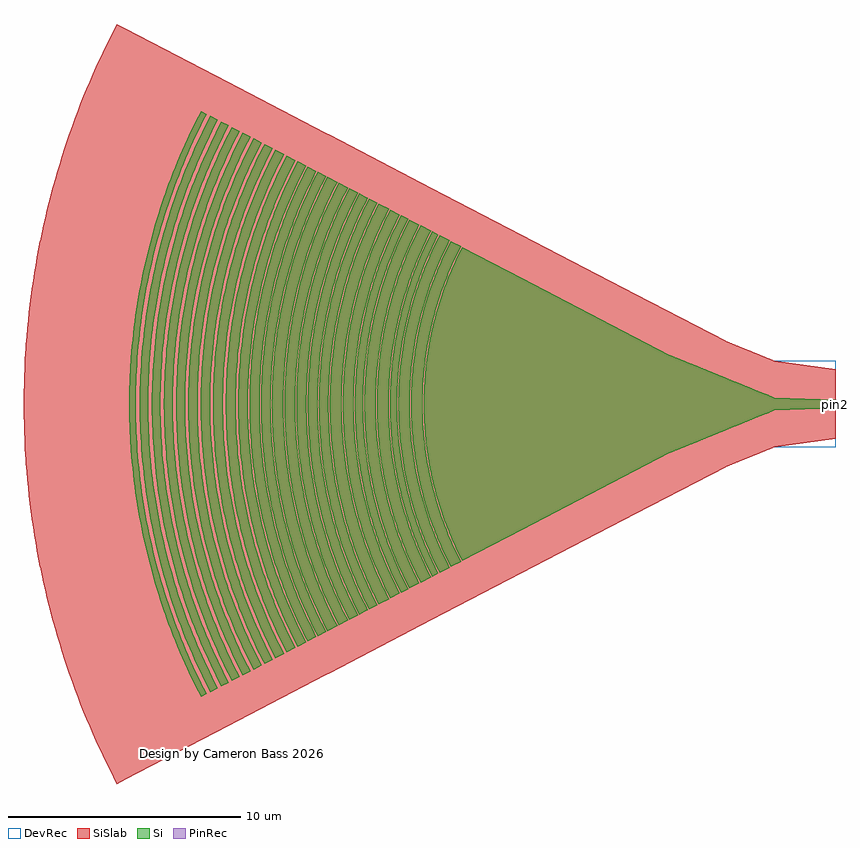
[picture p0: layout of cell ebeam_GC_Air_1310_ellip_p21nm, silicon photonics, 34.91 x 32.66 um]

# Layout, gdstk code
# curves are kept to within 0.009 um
import gdstk
lib = gdstk.Library(unit=1e-6, precision=1e-09)
def P(c, l, *ps):  # polygons
    for p in ps: c.add(gdstk.Polygon(p, *l))
Si = (1, 0)
PinRec = (1, 10)
SiSlab = (2, 0)
DevRec = (68, 0)

ebeam_gc_air_1310_ellip_ = lib.new_cell('ebeam_GC_Air_1310_ellip_p21nm')
P(ebeam_gc_air_1310_ellip_, Si, [(-16.057,-6.744),(-16.429,-5.978),(-16.804,-5.06),(-17.033,-4.39),(-17.298,-3.436),(-17.475,-2.605),(-17.602,-1.766),(-17.68,-0.919),(-17.708,-0.071),(-17.68,0.919),(-17.602,1.766),(-17.475,2.606),(-17.298,3.436),(-17.033,4.39),(-16.804,5.06),(-16.429,5.978),(-16.057,6.744),(-7.084,2.076),(-2.648,0.271),(0,0.175),(0,-0.175),(-2.658,-0.273),(-2.853,-0.363),(-3.177,-0.483),(-7.084,-2.076)],
  [(-16.549,-6.999),(-16.932,-6.208),(-17.27,-5.392),(-17.559,-4.559),(-17.799,-3.711),(-17.991,-2.85),(-18.131,-1.979),(-18.23,-0.955),(-18.26,-0.073),(-18.239,0.808),(-18.149,1.833),(-18.018,2.706),(-17.834,3.568),(-17.725,3.996),(-17.559,4.559),(-17.27,5.392),(-16.932,6.208),(-16.549,7),(-16.109,6.771),(-16.482,6.001),(-16.808,5.213),(-17.088,4.409),(-17.321,3.588),(-17.42,3.174),(-17.531,2.616),(-17.659,1.772),(-17.746,0.782),(-17.766,0.071),(-17.746,-0.782),(-17.659,-1.772),(-17.531,-2.615),(-17.355,-3.45),(-17.13,-4.273),(-16.858,-5.081),(-16.482,-6.001),(-16.109,-6.771)],
  [(-17.03,-7.25),(-17.426,-6.432),(-17.776,-5.587),(-18.075,-4.724),(-18.324,-3.845),(-18.522,-2.953),(-18.667,-2.051),(-18.76,-1.142),(-18.787,-0.685),(-18.801,-0.076),(-18.779,0.837),(-18.704,1.748),(-18.647,2.202),(-18.55,2.803),(-18.36,3.697),(-18.206,4.287),(-18.075,4.724),(-17.776,5.587),(-17.426,6.432),(-17.03,7.25),(-16.6,7.027),(-16.862,6.5),(-17.045,6.096),(-17.375,5.276),(-17.658,4.436),(-17.892,3.582),(-18.074,2.716),(-18.207,1.84),(-18.288,0.959),(-18.318,0.074),(-18.297,-0.811),(-18.207,-1.84),(-18.074,-2.716),(-17.892,-3.582),(-17.658,-4.436),(-17.375,-5.276),(-17.045,-6.096),(-16.862,-6.5),(-16.6,-7.027)],
  [(-17.35,-7.417),(-17.755,-6.58),(-18.113,-5.717),(-18.419,-4.833),(-18.674,-3.934),(-18.877,-3.021),(-19.045,-1.944),(-19.131,-1.012),(-19.162,-0.078),(-19.14,0.857),(-19.045,1.944),(-18.905,2.868),(-18.711,3.783),(-18.465,4.684),(-18.168,5.57),(-17.755,6.581),(-17.35,7.417),(-17.082,7.277),(-17.541,6.315),(-17.775,5.751),(-17.935,5.322),(-18.176,4.596),(-18.303,4.155),(-18.453,3.562),(-18.549,3.114),(-18.682,2.361),(-18.778,1.603),(-18.837,0.841),(-18.859,0.077),(-18.844,-0.688),(-18.793,-1.45),(-18.682,-2.361),(-18.549,-3.114),(-18.453,-3.562),(-18.303,-4.154),(-18.176,-4.596),(-17.986,-5.177),(-17.774,-5.75),(-17.541,-6.315),(-17.082,-7.277)],
  [(-17.846,-7.675),(-18.264,-6.81),(-18.691,-5.765),(-18.999,-4.848),(-19.253,-3.915),(-19.454,-2.968),(-19.598,-2.012),(-19.687,-1.047),(-19.72,-0.08),(-19.696,0.887),(-19.617,1.851),(-19.482,2.81),(-19.361,3.443),(-19.253,3.915),(-18.999,4.848),(-18.691,5.765),(-18.264,6.811),(-17.846,7.675),(-17.402,7.444),(-17.808,6.604),(-18.166,5.737),(-18.475,4.851),(-18.731,3.949),(-18.839,3.492),(-18.962,2.878),(-19.102,1.95),(-19.166,1.328),(-19.198,0.86),(-19.22,0.078),(-19.198,-0.86),(-19.166,-1.328),(-19.102,-1.95),(-18.962,-2.878),(-18.768,-3.796),(-18.475,-4.851),(-18.166,-5.738),(-17.808,-6.604),(-17.402,-7.444)],
  [(-18.326,-7.925),(-18.758,-7.032),(-19.14,-6.109),(-19.311,-5.64),(-19.517,-5.006),(-19.779,-4.042),(-19.986,-3.065),(-20.136,-2.077),(-20.227,-1.082),(-20.261,-0.083),(-20.237,0.916),(-20.155,1.911),(-20.015,2.901),(-19.818,3.881),(-19.655,4.527),(-19.517,5.006),(-19.198,5.953),(-19.018,6.419),(-18.758,7.033),(-18.326,7.925),(-17.899,7.703),(-18.384,6.687),(-18.746,5.786),(-19.056,4.866),(-19.312,3.929),(-19.512,2.978),(-19.657,2.018),(-19.747,1.052),(-19.78,0.081),(-19.756,-0.89),(-19.676,-1.858),(-19.54,-2.82),(-19.312,-3.928),(-19.056,-4.865),(-18.746,-5.786),(-18.384,-6.687),(-17.899,-7.703)],
  [(-18.688,-8.113),(-19.13,-7.199),(-19.522,-6.253),(-19.857,-5.287),(-20.049,-4.634),(-20.176,-4.138),(-20.388,-3.138),(-20.541,-2.126),(-20.635,-1.107),(-20.669,-0.085),(-20.645,0.937),(-20.561,1.957),(-20.418,2.97),(-20.29,3.639),(-20.176,4.138),(-20.049,4.634),(-19.857,5.287),(-19.522,6.253),(-19.13,7.199),(-18.688,8.113),(-18.378,7.953),(-18.812,7.056),(-19.135,6.286),(-19.366,5.659),(-19.524,5.183),(-19.797,4.219),(-19.913,3.731),(-20.044,3.075),(-20.194,2.084),(-20.286,1.086),(-20.32,0.084),(-20.296,-0.919),(-20.231,-1.752),(-20.126,-2.581),(-19.981,-3.404),(-19.876,-3.893),(-19.712,-4.541),(-19.524,-5.183),(-19.366,-5.659),(-18.946,-6.75),(-18.672,-7.36),(-18.378,-7.952)],
  [(-19.146,-8.352),(-19.601,-7.412),(-19.876,-6.765),(-20.066,-6.274),(-20.401,-5.276),(-20.678,-4.26),(-20.896,-3.23),(-21.054,-2.189),(-21.15,-1.14),(-21.186,-0.088),(-21.176,0.615),(-21.15,1.14),(-21.054,2.189),(-20.896,3.23),(-20.678,4.26),(-20.401,5.276),(-20.066,6.274),(-19.876,6.766),(-19.601,7.412),(-19.146,8.352),(-18.741,8.141),(-19.042,7.534),(-19.254,7.067),(-19.636,6.115),(-19.964,5.142),(-20.235,4.152),(-20.446,3.148),(-20.6,2.133),(-20.694,1.112),(-20.729,0.086),(-20.704,-0.941),(-20.62,-1.964),(-20.476,-2.979),(-20.382,-3.484),(-20.235,-4.152),(-19.964,-5.142),(-19.636,-6.115),(-19.254,-7.067),(-19.042,-7.534),(-18.741,-8.141)],
  [(-19.645,-8.612),(-20.112,-7.645),(-20.528,-6.641),(-20.883,-5.615),(-21.179,-4.57),(-21.414,-3.51),(-21.587,-2.438),(-21.697,-1.357),(-21.728,-0.815),(-21.746,-0.09),(-21.72,0.995),(-21.63,2.078),(-21.479,3.154),(-21.343,3.864),(-21.222,4.395),(-20.937,5.442),(-20.713,6.131),(-20.528,6.641),(-20.112,7.645),(-19.645,8.612),(-19.199,8.38),(-19.655,7.435),(-20.059,6.459),(-20.239,5.963),(-20.458,5.294),(-20.694,4.445),(-20.921,3.414),(-21.09,2.371),(-21.168,1.671),(-21.209,1.144),(-21.245,0.088),(-21.24,-0.44),(-21.209,-1.144),(-21.112,-2.195),(-20.954,-3.24),(-20.736,-4.274),(-20.458,-5.293),(-20.239,-5.963),(-20.059,-6.459),(-19.655,-7.435),(-19.199,-8.38)],
  [(-20.06,-8.828),(-20.54,-7.835),(-20.966,-6.806),(-21.331,-5.754),(-21.634,-4.683),(-21.875,-3.597),(-22.052,-2.498),(-22.165,-1.391),(-22.197,-0.835),(-22.215,-0.093),(-22.188,1.02),(-22.097,2.129),(-22.027,2.682),(-21.909,3.415),(-21.678,4.504),(-21.49,5.222),(-21.331,5.754),(-20.966,6.806),(-20.54,7.835),(-20.06,8.828),(-19.701,8.641),(-20.17,7.669),(-20.586,6.663),(-20.944,5.634),(-21.241,4.585),(-21.476,3.521),(-21.57,2.985),(-21.672,2.265),(-21.772,1.18),(-21.809,0.091),(-21.783,-0.999),(-21.693,-2.085),(-21.625,-2.625),(-21.509,-3.342),(-21.284,-4.408),(-20.997,-5.46),(-20.65,-6.493),(-20.244,-7.502),(-19.94,-8.163),(-19.701,-8.641)],
  [(-20.48,-9.047),(-20.973,-8.028),(-21.41,-6.973),(-21.783,-5.896),(-22.094,-4.799),(-22.266,-4.058),(-22.376,-3.499),(-22.546,-2.371),(-22.651,-1.235),(-22.69,-0.095),(-22.662,1.045),(-22.568,2.182),(-22.409,3.312),(-22.305,3.872),(-22.139,4.615),(-21.839,5.715),(-21.666,6.258),(-21.41,6.973),(-21.199,7.504),(-20.895,8.201),(-20.48,9.047),(-20.113,8.856),(-20.595,7.858),(-21.021,6.827),(-21.387,5.773),(-21.597,5.058),(-21.737,4.517),(-21.967,3.425),(-22.134,2.321),(-22.236,1.209),(-22.274,0.093),(-22.247,-1.023),(-22.193,-1.766),(-22.134,-2.32),(-21.967,-3.425),(-21.737,-4.517),(-21.442,-5.595),(-21.086,-6.653),(-20.816,-7.346),(-20.595,-7.859),(-20.113,-8.856)],
  [(-20.915,-9.273),(-21.421,-8.226),(-21.868,-7.147),(-22.251,-6.042),(-22.57,-4.918),(-22.705,-4.349),(-22.859,-3.585),(-23.034,-2.43),(-23.141,-1.265),(-23.18,-0.097),(-23.175,0.488),(-23.141,1.265),(-23.034,2.43),(-22.859,3.586),(-22.616,4.729),(-22.309,5.856),(-21.937,6.964),(-21.726,7.509),(-21.421,8.227),(-20.915,9.273),(-20.537,9.076),(-20.873,8.398),(-21.109,7.878),(-21.331,7.35),(-21.536,6.816),(-21.901,5.732),(-22.203,4.628),(-22.439,3.509),(-22.61,2.378),(-22.715,1.239),(-22.754,0.096),(-22.743,-0.667),(-22.715,-1.239),(-22.61,-2.378),(-22.439,-3.509),(-22.203,-4.628),(-21.901,-5.732),(-21.536,-6.816),(-21.109,-7.877),(-20.873,-8.398),(-20.537,-9.076)],
  [(-21.366,-9.508),(-21.632,-8.979),(-21.884,-8.436),(-22.197,-7.7),(-22.413,-7.141),(-22.795,-6.005),(-23.11,-4.849),(-23.359,-3.677),(-23.538,-2.492),(-23.648,-1.297),(-23.677,-0.699),(-23.688,-0.1),(-23.683,0.499),(-23.648,1.298),(-23.538,2.491),(-23.359,3.677),(-23.11,4.849),(-22.795,6.005),(-22.413,7.141),(-21.965,8.253),(-21.718,8.799),(-21.366,9.508),(-20.967,9.3),(-21.475,8.25),(-21.923,7.167),(-22.308,6.06),(-22.476,5.498),(-22.674,4.742),(-22.916,3.595),(-23.092,2.436),(-23.199,1.27),(-23.239,0.098),(-23.211,-1.074),(-23.154,-1.854),(-23.092,-2.436),(-22.916,-3.595),(-22.674,-4.742),(-22.528,-5.311),(-22.308,-6.06),(-21.923,-7.166),(-21.475,-8.25),(-20.967,-9.3)],
  [(-21.854,-9.761),(-22.3,-8.85),(-22.782,-7.718),(-23.065,-6.948),(-23.259,-6.363),(-23.594,-5.179),(-23.78,-4.379),(-23.898,-3.776),(-24.082,-2.559),(-24.195,-1.332),(-24.225,-0.718),(-24.236,-0.102),(-24.207,1.128),(-24.106,2.355),(-23.999,3.168),(-23.898,3.776),(-23.78,4.379),(-23.643,4.98),(-23.49,5.577),(-23.319,6.167),(-23.132,6.754),(-22.927,7.334),(-22.628,8.098),(-22.384,8.663),(-22.125,9.221),(-21.854,9.762),(-21.418,9.535),(-21.938,8.459),(-22.176,7.908),(-22.397,7.349),(-22.792,6.214),(-23.12,5.058),(-23.259,4.473),(-23.379,3.884),(-23.571,2.697),(-23.693,1.501),(-23.728,0.901),(-23.747,0.1),(-23.718,-1.102),(-23.66,-1.901),(-23.596,-2.499),(-23.416,-3.687),(-23.168,-4.863),(-22.851,-6.023),(-22.468,-7.162),(-22.019,-8.277),(-21.771,-8.824),(-21.418,-9.535)],
  [(-22.268,-9.977),(-22.545,-9.424),(-22.81,-8.854),(-23.292,-7.691),(-23.574,-6.902),(-23.766,-6.303),(-24.097,-5.09),(-24.236,-4.476),(-24.357,-3.859),(-24.46,-3.238),(-24.545,-2.615),(-24.612,-1.989),(-24.661,-1.362),(-24.691,-0.734),(-24.703,-0.105),(-24.673,1.153),(-24.57,2.406),(-24.491,3.031),(-24.394,3.653),(-24.279,4.271),(-24.097,5.09),(-23.766,6.303),(-23.574,6.903),(-23.292,7.691),(-22.81,8.855),(-22.268,9.977),(-21.906,9.789),(-22.266,9.061),(-22.521,8.5),(-22.76,7.93),(-23.052,7.161),(-23.252,6.577),(-23.491,5.79),(-23.651,5.194),(-23.836,4.392),(-23.955,3.786),(-24.056,3.177),(-24.185,2.157),(-24.265,1.131),(-24.295,0.103),(-24.275,-0.925),(-24.205,-1.952),(-24.086,-2.974),(-23.877,-4.19),(-23.748,-4.793),(-23.546,-5.592),(-23.314,-6.381),(-23.052,-7.161),(-22.76,-7.93),(-22.521,-8.499),(-22.266,-9.061),(-21.906,-9.789)],
  [(-22.702,-10.203),(-22.987,-9.636),(-23.258,-9.053),(-23.513,-8.462),(-23.751,-7.864),(-23.97,-7.26),(-24.172,-6.649),(-24.414,-5.827),(-24.574,-5.204),(-24.717,-4.576),(-24.84,-3.946),(-24.946,-3.311),(-25.033,-2.674),(-25.101,-2.034),(-25.151,-1.392),(-25.182,-0.751),(-25.194,-0.107),(-25.188,0.536),(-25.163,1.179),(-25.12,1.821),(-25.058,2.46),(-24.977,3.099),(-24.878,3.735),(-24.717,4.576),(-24.574,5.204),(-24.414,5.827),(-24.235,6.445),(-24.039,7.058),(-23.826,7.664),(-23.594,8.264),(-23.345,8.857),(-22.987,9.636),(-22.702,10.203),(-22.323,10.006),(-22.692,9.261),(-22.953,8.687),(-23.197,8.105),(-23.495,7.319),(-23.764,6.522),(-23.944,5.917),(-24.108,5.308),(-24.297,4.489),(-24.489,3.456),(-24.632,2.414),(-24.723,1.366),(-24.754,0.736),(-24.766,0.105),(-24.746,-0.946),(-24.709,-1.576),(-24.654,-2.204),(-24.522,-3.247),(-24.339,-4.283),(-24.207,-4.899),(-24.001,-5.714),(-23.764,-6.522),(-23.495,-7.319),(-23.274,-7.909),(-22.953,-8.686),(-22.692,-9.261),(-22.323,-10.006)],
  [(-23.134,-10.428),(-23.428,-9.843),(-23.705,-9.248),(-24.209,-8.033),(-24.433,-7.416),(-24.64,-6.792),(-24.828,-6.163),(-24.998,-5.528),(-25.283,-4.246),(-25.397,-3.598),(-25.492,-2.949),(-25.568,-2.296),(-25.64,-1.422),(-25.672,-0.767),(-25.684,-0.109),(-25.678,0.547),(-25.653,1.204),(-25.608,1.86),(-25.545,2.513),(-25.462,3.166),(-25.323,4.031),(-25.196,4.675),(-25.05,5.316),(-24.886,5.952),(-24.704,6.583),(-24.504,7.21),(-24.286,7.829),(-24.048,8.442),(-23.705,9.248),(-23.428,9.843),(-23.134,10.428),(-22.771,10.24),(-23.15,9.473),(-23.503,8.689),(-23.747,8.091),(-23.972,7.487),(-24.247,6.672),(-24.432,6.053),(-24.651,5.221),(-24.793,4.592),(-24.99,3.534),(-25.083,2.896),(-25.158,2.255),(-25.241,1.183),(-25.273,0.108),(-25.252,-0.968),(-25.179,-2.041),(-25.11,-2.683),(-25.023,-3.322),(-24.836,-4.381),(-24.651,-5.221),(-24.49,-5.845),(-24.311,-6.466),(-24.044,-7.284),(-23.747,-8.091),(-23.503,-8.688),(-23.15,-9.473),(-22.771,-10.239)],
  [(-23.603,-10.673),(-23.907,-10.068),(-24.191,-9.46),(-24.457,-8.842),(-24.706,-8.218),(-24.936,-7.586),(-25.147,-6.948),(-25.34,-6.304),(-25.514,-5.655),(-25.67,-5.001),(-25.805,-4.343),(-25.957,-3.459),(-26.048,-2.794),(-26.119,-2.125),(-26.171,-1.455),(-26.204,-0.784),(-26.217,-0.112),(-26.21,0.56),(-26.184,1.232),(-26.139,1.903),(-26.048,2.794),(-25.957,3.46),(-25.846,4.123),(-25.717,4.782),(-25.567,5.438),(-25.4,6.088),(-25.213,6.734),(-25.008,7.375),(-24.785,8.008),(-24.542,8.635),(-24.191,9.46),(-23.907,10.069),(-23.603,10.673),(-23.229,10.478),(-23.62,9.689),(-23.981,8.887),(-24.461,7.658),(-24.675,7.033),(-24.932,6.191),(-25.156,5.34),(-25.301,4.697),(-25.503,3.614),(-25.652,2.525),(-25.715,1.868),(-25.76,1.21),(-25.792,0.11),(-25.771,-0.99),(-25.733,-1.648),(-25.675,-2.306),(-25.537,-3.398),(-25.345,-4.481),(-25.207,-5.126),(-24.991,-5.98),(-24.808,-6.613),(-24.535,-7.45),(-24.309,-8.07),(-23.981,-8.887),(-23.62,-9.689),(-23.229,-10.478)],
  [(-24.086,-10.924),(-24.4,-10.3),(-24.69,-9.677),(-24.963,-9.045),(-25.218,-8.406),(-25.453,-7.761),(-25.737,-6.889),(-25.928,-6.229),(-26.099,-5.563),(-26.252,-4.892),(-26.385,-4.218),(-26.498,-3.539),(-26.591,-2.858),(-26.664,-2.174),(-26.717,-1.488),(-26.751,-0.802),(-26.764,-0.114),(-26.757,0.573),(-26.731,1.26),(-26.684,1.946),(-26.591,2.859),(-26.498,3.539),(-26.385,4.218),(-26.252,4.892),(-26.099,5.563),(-25.928,6.229),(-25.737,6.889),(-25.453,7.761),(-25.218,8.406),(-24.963,9.046),(-24.69,9.677),(-24.4,10.3),(-24.086,10.924),(-23.717,10.732),(-24.023,10.122),(-24.4,9.304),(-24.746,8.471),(-24.982,7.839),(-25.27,6.985),(-25.464,6.337),(-25.694,5.466),(-25.842,4.808),(-25.973,4.144),(-26.084,3.478),(-26.226,2.361),(-26.313,1.238),(-26.346,0.113),(-26.324,-1.013),(-26.284,-1.688),(-26.226,-2.361),(-26.084,-3.478),(-25.888,-4.587),(-25.746,-5.247),(-25.525,-6.12),(-25.27,-6.985),(-24.982,-7.839),(-24.746,-8.471),(-24.4,-9.304),(-24.023,-10.122),(-23.717,-10.732)],
  [(-24.556,-11.169),(-24.879,-10.528),(-25.176,-9.891),(-25.455,-9.245),(-25.715,-8.593),(-25.956,-7.932),(-26.177,-7.265),(-26.441,-6.367),(-26.617,-5.686),(-26.773,-5),(-26.909,-4.311),(-27.024,-3.617),(-27.119,-2.922),(-27.194,-2.222),(-27.249,-1.521),(-27.283,-0.82),(-27.296,-0.117),(-27.283,0.82),(-27.249,1.522),(-27.194,2.223),(-27.119,2.921),(-27.024,3.617),(-26.909,4.311),(-26.773,5),(-26.617,5.686),(-26.441,6.366),(-26.177,7.265),(-25.956,7.932),(-25.715,8.592),(-25.455,9.246),(-25.176,9.891),(-24.879,10.528),(-24.556,11.169),(-24.198,10.983),(-24.614,10.146),(-24.901,9.516),(-25.169,8.879),(-25.496,8.018),(-25.791,7.145),(-25.989,6.483),(-26.169,5.815),(-26.376,4.918),(-26.588,3.786),(-26.744,2.644),(-26.845,1.497),(-26.878,0.806),(-26.891,0.115),(-26.869,-1.036),(-26.791,-2.185),(-26.657,-3.33),(-26.55,-4.013),(-26.423,-4.692),(-26.224,-5.591),(-26.051,-6.261),(-25.791,-7.145),(-25.573,-7.801),(-25.253,-8.665),(-24.901,-9.516),(-24.614,-10.146),(-24.198,-10.983)],
  [(-25.029,-11.415),(-25.36,-10.758),(-25.664,-10.108),(-25.948,-9.448),(-26.215,-8.781),(-26.46,-8.106),(-26.686,-7.424),(-26.893,-6.736),(-27.079,-6.042),(-27.244,-5.344),(-27.391,-4.64),(-27.515,-3.933),(-27.62,-3.223),(-27.703,-2.509),(-27.766,-1.794),(-27.817,-0.838),(-27.831,-0.12),(-27.824,0.598),(-27.796,1.316),(-27.747,2.033),(-27.678,2.747),(-27.587,3.46),(-27.435,4.405),(-27.296,5.11),(-27.136,5.81),(-26.957,6.505),(-26.757,7.196),(-26.538,7.88),(-26.215,8.781),(-25.948,9.448),(-25.664,10.108),(-25.36,10.758),(-25.029,11.415),(-24.678,11.233),(-25.003,10.587),(-25.398,9.73),(-25.672,9.079),(-26.007,8.199),(-26.308,7.306),(-26.511,6.629),(-26.695,5.946),(-26.907,5.029),(-27.123,3.871),(-27.283,2.704),(-27.352,2),(-27.4,1.295),(-27.434,0.118),(-27.427,-0.589),(-27.4,-1.295),(-27.308,-2.469),(-27.16,-3.638),(-27.044,-4.335),(-26.907,-5.029),(-26.695,-5.946),(-26.511,-6.628),(-26.308,-7.306),(-26.007,-8.199),(-25.671,-9.079),(-25.398,-9.73),(-25.003,-10.587),(-24.678,-11.232)],
  [(-25.491,-11.655),(-25.829,-10.984),(-26.139,-10.32),(-26.429,-9.646),(-26.701,-8.965),(-26.952,-8.276),(-27.183,-7.58),(-27.394,-6.878),(-27.584,-6.169),(-27.806,-5.217),(-27.947,-4.498),(-28.068,-3.774),(-28.167,-3.048),(-28.245,-2.319),(-28.302,-1.587),(-28.337,-0.856),(-28.352,-0.122),(-28.337,0.856),(-28.302,1.587),(-28.245,2.319),(-28.167,3.048),(-28.068,3.774),(-27.947,4.498),(-27.806,5.217),(-27.642,5.932),(-27.459,6.642),(-27.256,7.346),(-27.032,8.045),(-26.701,8.965),(-26.429,9.646),(-26.139,10.32),(-25.829,10.984),(-25.491,11.655),(-25.152,11.479),(-25.589,10.601),(-25.888,9.943),(-26.257,9.055),(-26.511,8.378),(-26.819,7.466),(-27.026,6.774),(-27.214,6.076),(-27.381,5.374),(-27.526,4.666),(-27.652,3.956),(-27.815,2.763),(-27.885,2.044),(-27.934,1.324),(-27.969,0.121),(-27.946,-1.083),(-27.904,-1.803),(-27.841,-2.523),(-27.757,-3.24),(-27.652,-3.955),(-27.431,-5.138),(-27.272,-5.842),(-27.026,-6.773),(-26.819,-7.466),(-26.511,-8.378),(-26.257,-9.055),(-25.888,-9.944),(-25.589,-10.601),(-25.152,-11.479)],
  [(-25.956,-11.897),(-26.301,-11.212),(-26.618,-10.534),(-26.914,-9.847),(-27.192,-9.151),(-27.448,-8.448),(-27.684,-7.737),(-27.899,-7.021),(-28.093,-6.297),(-28.319,-5.325),(-28.464,-4.591),(-28.586,-3.852),(-28.688,-3.111),(-28.768,-2.367),(-28.826,-1.62),(-28.862,-0.873),(-28.876,-0.125),(-28.862,0.873),(-28.826,1.62),(-28.768,2.367),(-28.688,3.112),(-28.586,3.853),(-28.464,4.591),(-28.319,5.325),(-28.152,6.055),(-27.966,6.781),(-27.758,7.499),(-27.529,8.212),(-27.28,8.917),(-27.009,9.616),(-26.618,10.534),(-26.301,11.212),(-25.956,11.898),(-25.622,11.724),(-25.962,11.049),(-26.374,10.155),(-26.66,9.475),(-27.01,8.556),(-27.324,7.625),(-27.537,6.918),(-27.728,6.206),(-27.95,5.247),(-28.175,4.04),(-28.342,2.822),(-28.414,2.087),(-28.464,1.352),(-28.5,0.123),(-28.492,-0.615),(-28.464,-1.352),(-28.368,-2.577),(-28.282,-3.309),(-28.175,-4.039),(-27.95,-5.247),(-27.787,-5.967),(-27.537,-6.917),(-27.249,-7.858),(-27.01,-8.556),(-26.659,-9.475),(-26.374,-10.155),(-25.962,-11.048),(-25.622,-11.724)],
  [(-26.415,-12.136),(-26.767,-11.437),(-27.09,-10.746),(-27.392,-10.044),(-27.675,-9.335),(-27.937,-8.617),(-28.177,-7.892),(-28.396,-7.161),(-28.594,-6.424),(-28.77,-5.681),(-28.926,-4.933),(-29.059,-4.181),(-29.169,-3.426),(-29.258,-2.667),(-29.325,-1.907),(-29.379,-0.891),(-29.394,-0.127),(-29.386,0.636),(-29.357,1.399),(-29.305,2.161),(-29.231,2.921),(-29.135,3.678),(-28.973,4.683),(-28.825,5.432),(-28.655,6.177),(-28.465,6.917),(-28.253,7.65),(-28.019,8.377),(-27.765,9.096),(-27.489,9.809),(-27.09,10.746),(-26.767,11.437),(-26.415,12.136),(-26.091,11.968),(-26.438,11.279),(-26.757,10.596),(-27.056,9.905),(-27.422,8.971),(-27.673,8.26),(-27.976,7.303),(-28.241,6.335),(-28.415,5.603),(-28.567,4.865),(-28.698,4.123),(-28.868,2.881),(-28.978,1.631),(-29.014,0.878),(-29.029,0.126),(-29.021,-0.628),(-28.992,-1.38),(-28.895,-2.631),(-28.807,-3.378),(-28.698,-4.123),(-28.567,-4.865),(-28.415,-5.603),(-28.241,-6.335),(-27.976,-7.303),(-27.673,-8.26),(-27.422,-8.97),(-27.15,-9.672),(-26.859,-10.367),(-26.547,-11.052),(-26.091,-11.968)],
  [(-26.885,-12.381),(-27.236,-11.682),(-27.566,-10.976),(-27.875,-10.26),(-28.255,-9.291),(-28.514,-8.557),(-28.752,-7.814),(-28.968,-7.065),(-29.163,-6.309),(-29.336,-5.548),(-29.486,-4.784),(-29.614,-4.014),(-29.72,-3.242),(-29.802,-2.466),(-29.863,-1.688),(-29.901,-0.91),(-29.916,-0.13),(-29.901,0.91),(-29.863,1.688),(-29.802,2.466),(-29.72,3.242),(-29.614,4.014),(-29.486,4.784),(-29.336,5.549),(-29.163,6.309),(-28.968,7.064),(-28.752,7.814),(-28.514,8.557),(-28.255,9.292),(-27.974,10.019),(-27.566,10.976),(-27.236,11.683),(-26.885,12.382),(-26.558,12.212),(-27.023,11.277),(-27.342,10.577),(-27.64,9.869),(-28.004,8.912),(-28.253,8.185),(-28.481,7.451),(-28.688,6.712),(-28.929,5.716),(-29.084,4.964),(-29.218,4.208),(-29.392,2.939),(-29.466,2.174),(-29.518,1.408),(-29.556,0.128),(-29.531,-1.152),(-29.486,-1.918),(-29.419,-2.684),(-29.258,-3.954),(-29.131,-4.712),(-28.983,-5.465),(-28.752,-6.463),(-28.552,-7.205),(-28.332,-7.942),(-28.004,-8.912),(-27.734,-9.631),(-27.342,-10.577),(-27.023,-11.277),(-26.558,-12.211)],
  [(-27.283,-12.589),(-27.648,-11.862),(-27.983,-11.145),(-28.296,-10.418),(-28.589,-9.682),(-28.846,-8.979),(-29.109,-8.186),(-29.336,-7.428),(-29.541,-6.663),(-29.723,-5.893),(-29.884,-5.117),(-30.022,-4.336),(-30.137,-3.554),(-30.254,-2.504),(-30.31,-1.795),(-30.354,-0.924),(-30.369,-0.132),(-30.361,0.659),(-30.331,1.451),(-30.277,2.242),(-30.17,3.292),(-30.063,4.076),(-29.933,4.858),(-29.78,5.634),(-29.604,6.407),(-29.407,7.174),(-29.187,7.934),(-28.946,8.689),(-28.682,9.435),(-28.396,10.174),(-27.983,11.146),(-27.648,11.863),(-27.283,12.589),(-27.037,12.461),(-27.503,11.521),(-27.828,10.807),(-28.132,10.083),(-28.504,9.105),(-28.838,8.114),(-29.064,7.361),(-29.267,6.604),(-29.448,5.841),(-29.606,5.071),(-29.742,4.299),(-29.919,3.003),(-30.034,1.7),(-30.072,0.915),(-30.087,0.131),(-30.062,-1.177),(-30.016,-1.961),(-29.947,-2.742),(-29.856,-3.521),(-29.742,-4.299),(-29.606,-5.071),(-29.448,-5.84),(-29.267,-6.604),(-29.064,-7.361),(-28.838,-8.114),(-28.504,-9.105),(-28.228,-9.84),(-27.828,-10.807),(-27.503,-11.521),(-27.037,-12.461)])
P(ebeam_gc_air_1310_ellip_, SiSlab, [(-30.904,-16.329),(-31.366,-15.41),(-31.801,-14.477),(-32.208,-13.533),(-32.588,-12.577),(-32.94,-11.61),(-33.264,-10.634),(-33.559,-9.648),(-33.825,-8.655),(-34.062,-7.654),(-34.27,-6.647),(-34.449,-5.634),(-34.598,-4.616),(-34.717,-3.594),(-34.807,-2.569),(-34.867,-1.543),(-34.9,-0.171),(-34.89,0.857),(-34.85,1.885),(-34.781,2.912),(-34.681,3.935),(-34.552,4.956),(-34.393,5.972),(-34.135,7.319),(-33.907,8.322),(-33.651,9.318),(-33.365,10.307),(-33.051,11.286),(-32.709,12.256),(-32.338,13.216),(-31.94,14.164),(-31.366,15.41),(-30.904,16.329),(-4.744,2.708),(-2.65,1.855),(0,1.5),(0,-1.5),(-2.65,-1.855),(-4.728,-2.7)])
P(ebeam_gc_air_1310_ellip_, DevRec, [(-30.904,-16.329),(-31.366,-15.41),(-31.801,-14.477),(-32.208,-13.533),(-32.588,-12.577),(-32.94,-11.61),(-33.264,-10.634),(-33.559,-9.648),(-33.825,-8.655),(-34.062,-7.654),(-34.27,-6.647),(-34.449,-5.634),(-34.598,-4.616),(-34.717,-3.594),(-34.807,-2.569),(-34.867,-1.543),(-34.9,-0.171),(-34.89,0.857),(-34.85,1.885),(-34.781,2.912),(-34.681,3.935),(-34.552,4.956),(-34.393,5.972),(-34.135,7.319),(-33.907,8.322),(-33.651,9.318),(-33.365,10.307),(-33.051,11.286),(-32.709,12.256),(-32.338,13.216),(-31.94,14.164),(-31.366,15.41),(-30.904,16.329),(-4.744,2.708),(-2.65,1.855),(0,1.855),(0,-1.855),(-2.65,-1.855),(-4.728,-2.7)])
ebeam_gc_air_1310_ellip_.add(gdstk.FlexPath([(-0.01,0),(0.01,0)], 0.35, ends="flush", simple_path=True, layer=1, datatype=10))  # PinRec
ebeam_gc_air_1310_ellip_.add(gdstk.Label('pin2', (0,0), layer=1, texttype=10))
ebeam_gc_air_1310_ellip_.add(gdstk.Label('Design by Cameron Bass 2026', (-25.94,-15.02), layer=10, texttype=0))

lib.write_gds('ebeam_GC_Air_1310_ellip_p21nm.gds')
